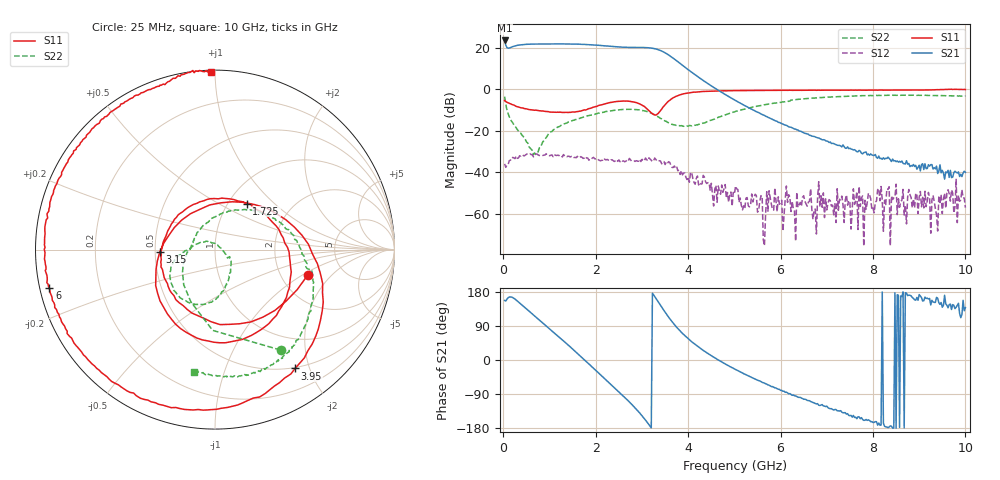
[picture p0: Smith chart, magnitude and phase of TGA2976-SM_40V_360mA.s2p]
!TGA2976-SM fixtured S-Parameters data
!Reference plane is at DUT
!Vd= 40 V, Id = 360 mA, Vg1 = -2.4 V Typical, Vg2 = +17.7V typical, Tbase = 25C
# GHz  S  DB  R  50
!  Freq  dB S11 	Deg S11	dB S21 	Deg S21	dB S12 	Deg S12	dB S22 	Deg S22
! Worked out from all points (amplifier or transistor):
!   400 points, 25 MHz to 10 GHz, reference 50 ohm
!   highest |S21| = 23.6 dB at 25 MHz (marker M1)
!   |S21| within 3 dB of that: 197.5 MHz to 2.426 GHz (2.228 GHz wide, 170 % of centre)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
!   unconditionally stable (mu >= 1): 31.31 MHz to 9.654 GHz; 9.721248 GHz to 9.728729 GHz; 9.821 GHz to end of sweep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
!   at 1.675 GHz: K = 1.67, MAG = 22.3 dB, |S12| = -32.4 dB
!   at 5.025 GHz: K = 23.68, MAG = 3.9 dB, |S12| = -46.6 dB
!   at 10 GHz: K = 390.02, MAG = -20.4 dB, |S12| = -57.0 dB
!   S11 on the Smith chart (normalised r, x): 25 MHz: 2.82, -1.11; 1.725 GHz: 1.22, +0.69; 3.15 GHz: 0.53, -0.02; 3.95 GHz: 0.49, -1.78; 6 GHz: 0.03, -0.12; 10 GHz: 0.01, +0.98
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0.025  -5.41 -15.2  23.56 157.1  -35.91 76.6  -3.50 -56.9
0.075  -6.21 -36.1  20.11 160.4  -36.52 25.7  -9.90 -114.9
0.175  -7.22 -71.5  20.34 166.1  -34.11 25.2  -15.35 -164.9
0.475  -9.33 -135.4  21.68 137.5  -31.68 -25.6  -24.25 131.3
1  -10.95 164.3  21.91 82.4  -32.01 -75.3  -20.88 -25.7
1.325  -11.09 122.7  21.91 47.8  -32.17 -101.6  -16.55 -54.5
1.7  -10.28 60.7  21.70 6.5  -32.77 -136.7  -13.63 -73.4
1.725  -10.13 55.3  21.69 3.6  -33.29 -132.5  -13.42 -74.1
2.125  -7.46 -9.1  21.09 -41.8  -34.23 -177.0  -11.18 -88.7
2.475  -5.81 -57.5  20.49 -81.4  -34.71 162.0  -9.90 -106.4
2.85  -6.24 -109.4  20.17 -126.4  -34.74 125.3  -9.72 -129.9
3.15  -10.22 -177.3  20.02 -170.8  -33.00 97.5  -11.00 -153.2
3.35  -11.61 82.8  19.13 153.6  -34.45 76.1  -13.25 -169.0
3.575  -5.66 3.3  16.58 113.1  -34.87 38.3  -16.12 -178.5
3.95  -1.95 -56.0  10.32 61.6  -42.44 -6.5  -17.86 157.0
5.025  -0.61 -129.3  -5.37 -24.9  -46.63 -32.1  -10.62 48.9
6  -0.47 -166.9  -16.25 -80.2  -54.11 -9.6  -6.29 -2.7
6.675  -0.39 172.3  -22.52 -111.0  -57.80 -125.0  -4.26 -27.4
8.35  -0.35 126.2  -33.27 -176.9  -46.95 122.4  -2.85 -65.8
8.375  -0.35 125.6  -33.98 -174.1  -75.35 19.4  -2.88 -66.2
8.5  -0.33 122.4  -34.85 -179.9  -45.68 143.0  -2.89 -68.6
10  -0.09 91.3  -40.00 138.2  -57.02 29.6  -3.22 -99.8
